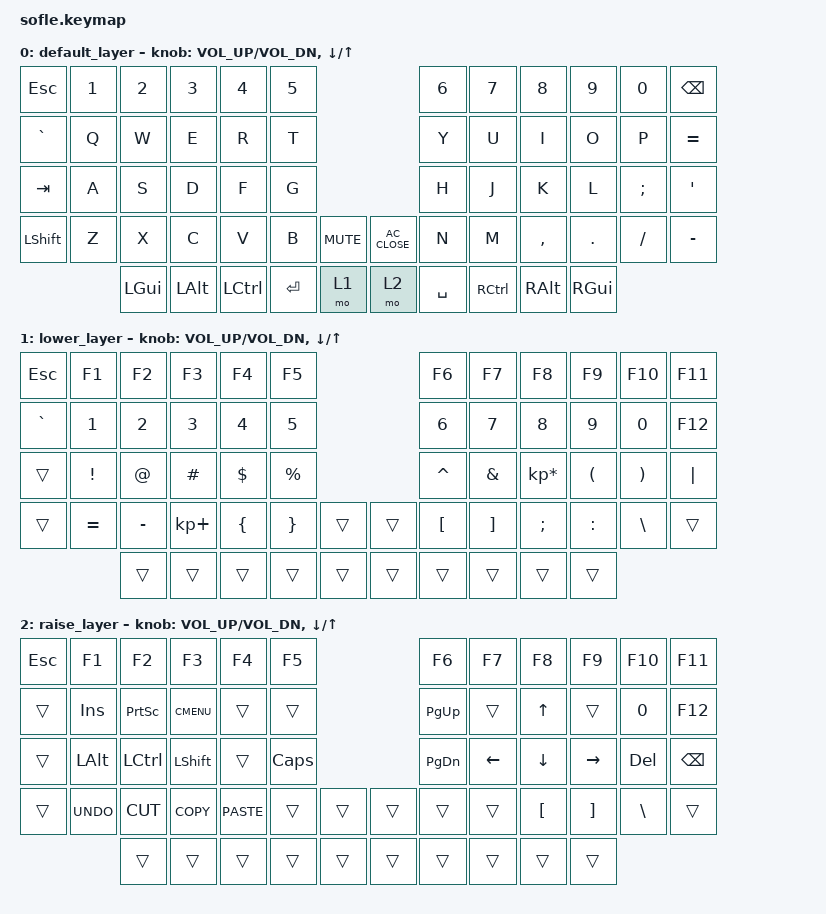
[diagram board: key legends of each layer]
/*
 * Copyright (c) 2020 The ZMK Contributors
 *
 * SPDX-License-Identifier: MIT
 */

#include <behaviors.dtsi>
#include <dt-bindings/zmk/keys.h>
#include <dt-bindings/zmk/bt.h>
#include <dt-bindings/led/led.h>
#include <dt-bindings/zmk/rgb.h>

/ {
    keymap {
        compatible = "zmk,keymap";

        default_layer {
// ,-----------------------------------------.                    ,-----------------------------------------.
// |  ESC |   1  |   2  |   3  |   4  |   5  |                    |   6  |   7  |   8  |   9  |   0  | Bspc |
// |------+------+------+------+------+------|                    |------+------+------+------+------+------|
// |   `  |   Q  |   W  |   E  |   R  |   T  |                    |   Y  |   U  |   I  |   O  |   P  |  +   |
// |------+------+------+------+------+------|                    |------+------+------+------+------+------|
// | Tab  |   A  |   S  |   D  |   F  |   G  |-------.    ,-------|   H  |   J  |   K  |   L  |   ;  |  '   |
// |------+------+------+------+------+------| MUTE  |    | CLOSE |------+------+------+------+------+------|
// |LShift|   Z  |   X  |   C  |   V  |   B  |-------|    |-------|   N  |   M  |   ,  |   .  |   /  |   -  |
// `-----------------------------------------/       /     \      \-----------------------------------------'
//            | LGUI | LAlt | LCTR |ENTER | /LOWER  /       \RAISE \  |SPACE | RCTR | RAlt | RGUI |
//            |      |      |      |      |/       /         \      \ |      |      |      |      |
//            `----------------------------------'           '------''---------------------------'

            bindings = <
&kp ESC   &kp N1 &kp N2   &kp N3   &kp N4    &kp N5                           &kp N6 &kp N7    &kp N8    &kp N9       &kp N0   &kp BSPC
&kp GRAVE &kp Q  &kp W    &kp E    &kp R     &kp T                            &kp Y  &kp U     &kp I     &kp O        &kp P    &kp EQUAL
&kp TAB   &kp A  &kp S    &kp D    &kp F     &kp G                            &kp H  &kp J     &kp K     &kp L        &kp SEMI &kp SQT
&kp LSHFT &kp Z  &kp X    &kp C    &kp V     &kp B  &kp C_MUTE  &kp C_AC_CLOSE       &kp N     &kp M     &kp COMMA    &kp DOT  &kp FSLH &kp MINUS
                 &kp LGUI &kp LALT &kp LCTRL &kp RET  &mo 1     &mo 2 &kp SPACE    &kp RCTRL &kp RALT  &kp RGUI
            >;

            sensor-bindings = <&inc_dec_kp C_VOL_UP C_VOL_DN &inc_dec_kp DOWN UP>;
        };

        lower_layer {
// TODO: Some binds are waiting for shifted keycode support.
// ------------------------------------------------------------------------------------------------------------
// |  ESC  |  F1 |  F2 |  F3  |  F4  |  F5  |                   |  F6  |  F7   |  F8   |  F9  |  F10  |  F11  |
// | `     |   1 |   2 |   3  |   4  |   5  |                   |   6  |   7   |   8   |   9  |    0  |  F12  |
// |       |  !  |  @  |  #   |  $   |  %   |                   |  ^   |  &    |  *    |  (   |   )   |   |   |
// |       |  =  |  -  |  +   |  {   |  }   |        |  |       |  [   |  ]    |  ;    |  :   |   \   |       |
//               |     |      |      |      |        |  |       |      |       |       |      |
            bindings = <
&kp ESC    &kp F1       &kp F2       &kp F3       &kp F4       &kp F5                   &kp F6    &kp F7    &kp F8   &kp F9    &kp F10 &kp F11
&kp GRAVE &kp N1    &kp N2    &kp N3      &kp N4    &kp N5                    &kp N6    &kp N7   &kp N8          &kp N9    &kp N0    &kp F12
&trans    &kp EXCL  &kp AT    &kp HASH    &kp DLLR  &kp PRCNT                 &kp CARET &kp AMPS &kp KP_MULTIPLY &kp LPAR  &kp RPAR  &kp PIPE
&trans    &kp EQUAL &kp MINUS &kp KP_PLUS &kp LBRC  &kp RBRC  &trans   &trans &kp LBKT  &kp RBKT &kp SEMI        &kp COLON &kp BSLH  &trans
                    &trans    &trans      &trans    &trans    &trans   &trans &trans    &trans   &trans          &trans
            >;

            sensor-bindings = <&inc_dec_kp C_VOL_UP C_VOL_DN &inc_dec_kp DOWN UP>;
        };

        raise_layer {
// ------------------------------------------------------------------------------------------------------------
// | ESC |  F1  |  F2  |  F3   |  F4   |  F5  |                |  F6  |  F7  |  F8   |  F9  |  F10  |  F11  |
// |     | INS  | PSCR | GUI   |       |      |                | PGUP |      |   ^   |      |       |  F12  |
// |     | ALT  | CTRL | SHIFT |       | CAPS |                | PGDN |   <- |   v   |  ->  |  DEL  | BKSPC |
// |     | UNDO | CUT  | COPY  | PASTE |      |      |  |      |      |      |   [   |  ]   |   \   |       |
//              |      |       |       |      |      |  |      |      |      |       |      |
            bindings = <
&kp ESC    &kp F1       &kp F2       &kp F3       &kp F4       &kp F5                   &kp F6    &kp F7    &kp F8   &kp F9    &kp F10 &kp F11
&trans     &kp INS      &kp PSCRN    &kp K_CMENU  &trans       &trans                   &kp PG_UP &trans    &kp UP   &trans    &kp N0  &kp F12
&trans     &kp LALT     &kp LCTRL    &kp LSHFT    &trans       &kp CLCK                 &kp PG_DN &kp LEFT  &kp DOWN &kp RIGHT &kp DEL &kp BSPC
&trans     &kp K_UNDO   &kp K_CUT    &kp K_COPY   &kp K_PASTE  &trans  &trans   &trans  &trans    &trans    &kp LBKT   &kp RBKT    &kp BSLH  &trans
                        &trans       &trans       &trans       &trans  &trans   &trans  &trans    &trans    &trans   &trans
            >;

            sensor-bindings = <&inc_dec_kp C_VOL_UP C_VOL_DN &inc_dec_kp DOWN UP>;
        };
    };
};
